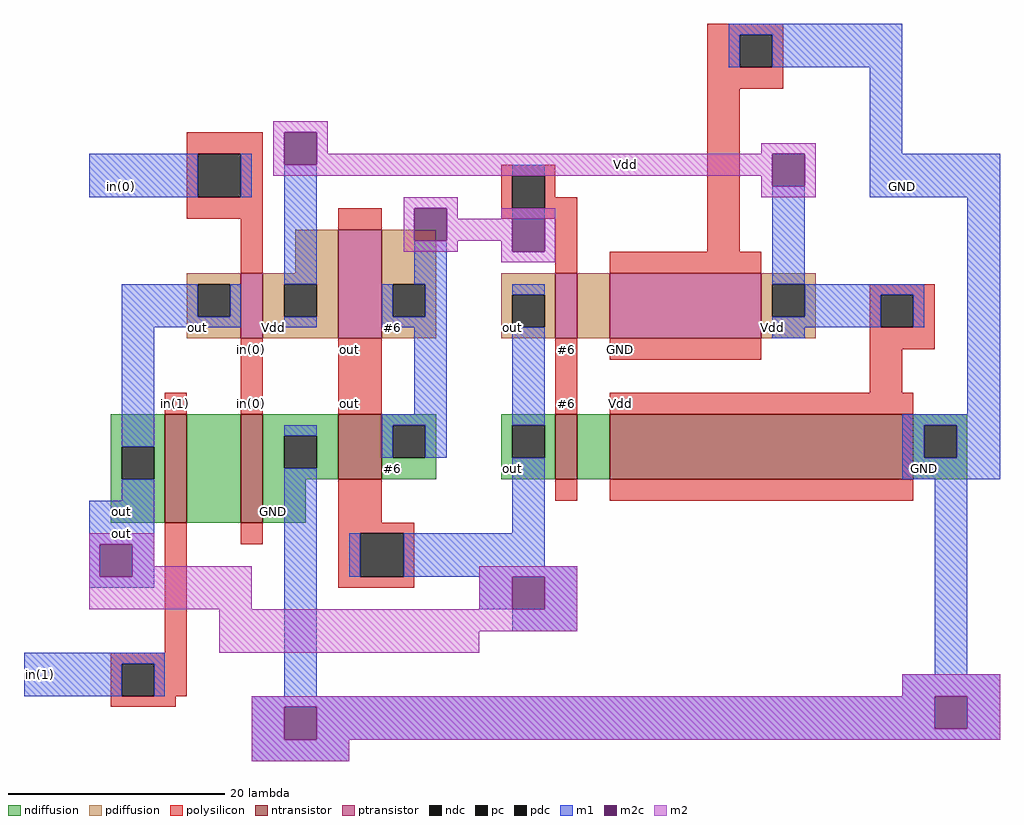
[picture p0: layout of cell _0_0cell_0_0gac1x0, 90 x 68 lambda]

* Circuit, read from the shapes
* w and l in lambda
.subckt _0_0cell_0_0gac1x0 GND out in(0)
M1 n1 in(1) out VSUBS nfet w=10 l=2
M2 GND in(0) n1 VSUBS nfet w=10 l=2
M3 #6 out GND VSUBS nfet w=6 l=4
M4 n2 #6 out VSUBS nfet w=6 l=2
M5 GND Vdd n2 VSUBS nfet w=6 l=28
M6 Vdd in(0) out NWELL pfet w=6 l=2
M7 #6 out Vdd NWELL pfet w=10 l=4
M8 n3 #6 out NWELL pfet w=6 l=2
M9 Vdd GND n3 NWELL pfet w=6 l=14
.ends

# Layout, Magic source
magic
tech sky130l
<< ndiffusion >>
rect 8 13 13 16
rect 8 10 9 13
rect 12 10 13 13
rect 8 6 13 10
rect 15 6 20 16
rect 22 14 29 16
rect 22 11 24 14
rect 27 11 29 14
rect 22 10 29 11
rect 33 15 38 16
rect 33 12 34 15
rect 37 12 38 15
rect 33 10 38 12
rect 44 15 49 16
rect 44 12 45 15
rect 48 12 49 15
rect 44 10 49 12
rect 51 10 54 16
rect 82 15 87 16
rect 82 12 83 15
rect 86 12 87 15
rect 82 10 87 12
rect 22 6 26 10
<< ndc >>
rect 9 10 12 13
rect 24 11 27 14
rect 34 12 37 15
rect 45 12 48 15
rect 83 12 86 15
<< ntransistor >>
rect 13 6 15 16
rect 20 6 22 16
rect 29 10 33 16
rect 49 10 51 16
rect 54 10 82 16
<< pdiffusion >>
rect 25 29 29 33
rect 15 28 20 29
rect 15 25 16 28
rect 19 25 20 28
rect 15 23 20 25
rect 22 28 29 29
rect 22 25 24 28
rect 27 25 29 28
rect 22 23 29 25
rect 33 28 38 33
rect 33 25 34 28
rect 37 25 38 28
rect 33 23 38 25
rect 44 27 49 29
rect 44 24 45 27
rect 48 24 49 27
rect 44 23 49 24
rect 51 23 54 29
rect 68 28 73 29
rect 68 25 69 28
rect 72 25 73 28
rect 68 23 73 25
<< pdc >>
rect 16 25 19 28
rect 24 25 27 28
rect 34 25 37 28
rect 45 24 48 27
rect 69 25 72 28
<< ptransistor >>
rect 20 23 22 29
rect 29 23 33 33
rect 49 23 51 29
rect 54 23 68 29
<< polysilicon >>
rect 63 51 70 52
rect 63 48 66 51
rect 69 48 70 51
rect 63 46 70 48
rect 15 40 22 42
rect 15 36 16 40
rect 20 36 22 40
rect 15 34 22 36
rect 44 38 49 39
rect 44 35 45 38
rect 48 36 49 38
rect 48 35 51 36
rect 20 29 22 34
rect 29 33 33 35
rect 44 34 51 35
rect 49 29 51 34
rect 63 31 66 46
rect 54 29 68 31
rect 78 27 84 28
rect 78 24 79 27
rect 82 24 84 27
rect 13 16 15 18
rect 20 16 22 23
rect 29 16 33 23
rect 49 16 51 23
rect 54 21 68 23
rect 78 22 84 24
rect 78 18 81 22
rect 54 16 82 18
rect 29 6 33 10
rect 49 8 51 10
rect 54 8 82 10
rect 13 -6 15 6
rect 20 4 22 6
rect 29 5 36 6
rect 29 1 31 5
rect 35 1 36 5
rect 29 0 36 1
rect 8 -7 15 -6
rect 8 -10 9 -7
rect 12 -10 15 -7
rect 8 -11 14 -10
<< pc >>
rect 66 48 69 51
rect 16 36 20 40
rect 45 35 48 38
rect 79 24 82 27
rect 31 1 35 5
rect 9 -10 12 -7
<< m1 >>
rect 65 51 81 52
rect 65 48 66 51
rect 69 48 81 51
rect 6 36 16 40
rect 20 36 21 40
rect 78 40 81 48
rect 24 28 27 39
rect 45 38 48 39
rect 36 28 39 32
rect 45 34 48 35
rect 69 28 72 37
rect 78 36 90 40
rect 9 25 16 28
rect 19 25 20 28
rect 9 24 20 25
rect 24 24 27 25
rect 33 25 34 28
rect 37 25 39 28
rect 33 24 39 25
rect 9 13 12 24
rect 36 16 39 24
rect 33 15 39 16
rect 9 8 12 10
rect 6 4 12 8
rect 6 1 7 4
rect 10 1 12 4
rect 6 0 12 1
rect 24 14 27 15
rect 33 12 34 15
rect 37 12 39 15
rect 45 27 48 28
rect 45 15 48 24
rect 72 27 83 28
rect 72 25 79 27
rect 69 24 79 25
rect 82 24 83 27
rect 69 23 72 24
rect 87 16 90 36
rect 0 -7 13 -6
rect 0 -10 9 -7
rect 12 -10 13 -7
rect 24 -10 27 11
rect 45 5 48 12
rect 81 15 90 16
rect 81 12 83 15
rect 86 12 90 15
rect 81 10 90 12
rect 30 1 31 5
rect 35 2 48 5
rect 35 1 51 2
rect 42 -2 45 1
rect 48 -2 51 1
rect 45 -4 51 -2
rect 84 -8 87 10
rect 81 -10 90 -8
rect 21 -11 84 -10
rect 21 -14 24 -11
rect 27 -13 84 -11
rect 87 -13 90 -10
rect 27 -14 90 -13
rect 21 -16 30 -14
<< m2c >>
rect 24 39 27 42
rect 36 32 39 35
rect 45 31 48 34
rect 69 37 72 40
rect 7 1 10 4
rect 45 -2 48 1
rect 24 -14 27 -11
rect 84 -13 87 -10
<< m2 >>
rect 23 42 28 43
rect 23 39 24 42
rect 27 40 28 42
rect 68 40 73 41
rect 27 39 69 40
rect 23 38 69 39
rect 68 37 69 38
rect 72 37 73 40
rect 68 36 73 37
rect 35 35 40 36
rect 35 32 36 35
rect 39 34 40 35
rect 44 34 49 35
rect 39 32 45 34
rect 35 31 40 32
rect 44 31 45 32
rect 48 31 49 34
rect 44 30 49 31
rect 6 4 12 5
rect 6 1 7 4
rect 10 2 12 4
rect 10 1 21 2
rect 6 -2 21 1
rect 42 1 51 2
rect 42 -2 45 1
rect 48 -2 51 1
rect 18 -4 51 -2
rect 18 -6 42 -4
rect 81 -10 90 -8
rect 21 -11 84 -10
rect 21 -14 24 -11
rect 27 -13 84 -11
rect 87 -13 90 -10
rect 27 -14 90 -13
rect 21 -16 30 -14
<< labels >>
rlabel ndiffusion 34 11 34 11 3 #6
rlabel pdiffusion 34 24 34 24 3 #6
rlabel polysilicon 30 17 30 17 3 out
rlabel polysilicon 30 22 30 22 3 out
rlabel ndiffusion 23 7 23 7 3 GND
rlabel pdiffusion 23 24 23 24 3 Vdd
rlabel polysilicon 21 17 21 17 3 in(0)
rlabel polysilicon 21 22 21 22 3 in(0)
rlabel pdiffusion 16 24 16 24 3 out
rlabel polysilicon 14 17 14 17 3 in(1)
rlabel ndiffusion 9 7 9 7 3 out
rlabel ndiffusion 83 11 83 11 3 GND
rlabel pdiffusion 69 24 69 24 3 Vdd
rlabel polysilicon 55 17 55 17 3 Vdd
rlabel polysilicon 55 22 55 22 3 GND
rlabel polysilicon 50 17 50 17 3 #6
rlabel polysilicon 50 22 50 22 3 #6
rlabel ndiffusion 45 11 45 11 3 out
rlabel pdiffusion 45 24 45 24 3 out
rlabel m1 81 37 81 37 3 GND
port 16 e
rlabel m1 9 5 9 5 3 out
port 19 e
rlabel m1 9 37 9 37 3 in(0)
port 20 e
rlabel m1 0 -10 3 -6 3 in(1)
rlabel m2 54 38 57 40 1 Vdd
<< end >>
